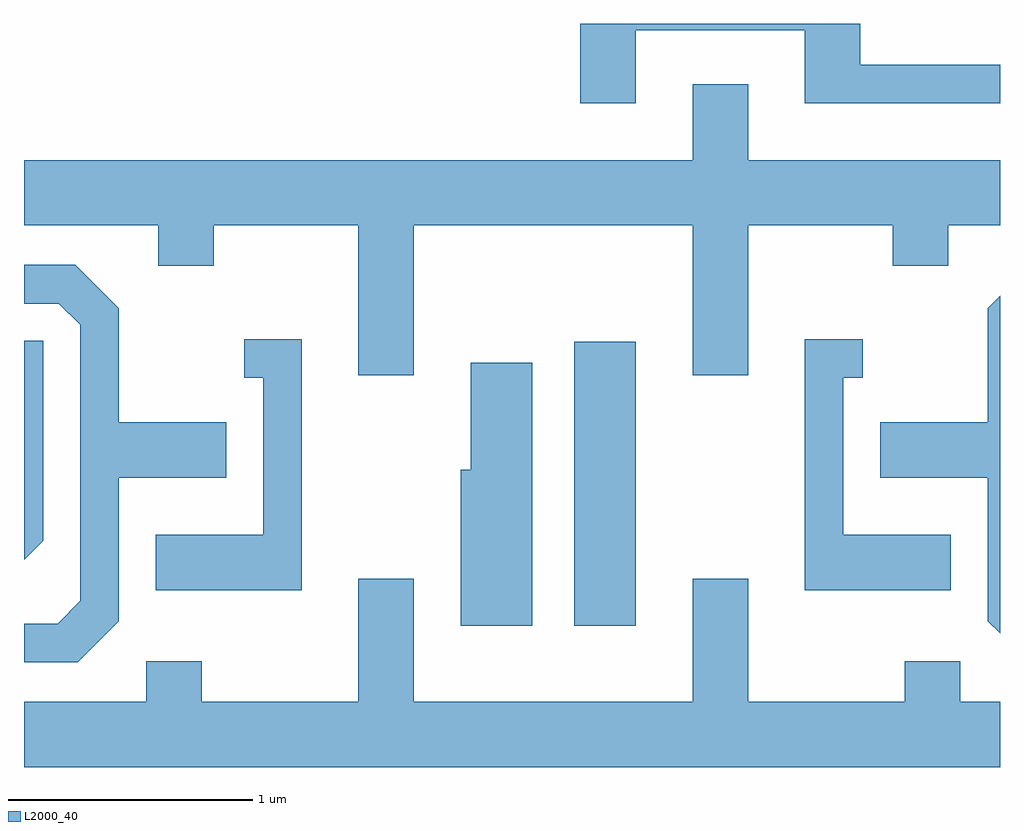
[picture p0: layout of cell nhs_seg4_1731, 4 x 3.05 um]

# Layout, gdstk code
import gdstk
lib = gdstk.Library(unit=1e-6, precision=1e-09)
def R(c, l, rs):  # rectangles x0, y0, x1, y1
    for r in rs: c.add(gdstk.rectangle(r[:2], r[2:], *l))
def P(c, l, *ps):  # polygons
    for p in ps: c.add(gdstk.Polygon(p, *l))
L2000_40 = (2000, 40)

nhs_seg4_1731 = lib.new_cell('nhs_seg4_1731')
R(nhs_seg4_1731, L2000_40, [(237.866,1317.516,238.119,1318.679)])
P(nhs_seg4_1731, L2000_40, [(238.119,1319.956),(238.811,1319.956),(238.811,1319.656),(239.611,1319.656),(239.611,1319.814),(239.039,1319.814),(239.039,1319.982),(237.891,1319.982),(237.891,1319.656),(238.119,1319.656)],
  [(237.209,1319.156),(238.351,1319.156),(238.351,1318.541),(238.579,1318.541),(238.579,1319.156),(239.171,1319.156),(239.171,1318.991),(239.399,1318.991),(239.399,1319.156),(239.611,1319.156),(239.611,1319.424),(238.579,1319.424),(238.579,1319.734),(238.351,1319.734),(238.351,1319.424),(235.611,1319.424),(235.611,1319.156),(236.161,1319.156),(236.161,1318.991),(236.389,1318.991),(236.389,1319.156),(236.981,1319.156),(236.981,1318.541),(237.209,1318.541)],
  [(235.999,1317.534),(235.999,1318.121),(236.439,1318.121),(236.439,1318.349),(235.999,1318.349),(235.999,1318.817),(235.822,1318.994),(235.611,1318.994),(235.611,1318.836),(235.754,1318.836),(235.841,1318.749),(235.841,1317.617),(235.749,1317.524),(235.611,1317.524),(235.611,1317.366),(235.832,1317.366)],
  [(239.611,1318.867),(239.561,1318.817),(239.561,1318.349),(239.121,1318.349),(239.121,1318.121),(239.561,1318.121),(239.561,1317.534),(239.611,1317.484)],
  [(239.409,1317.889),(238.969,1317.889),(238.969,1318.531),(239.048,1318.531),(239.048,1318.689),(238.811,1318.689),(238.811,1317.661),(239.409,1317.661)],
  [(236.749,1318.689),(236.513,1318.689),(236.513,1318.531),(236.591,1318.531),(236.591,1317.889),(236.151,1317.889),(236.151,1317.661),(236.749,1317.661)],
  [(235.689,1317.864),(235.689,1318.684),(235.611,1318.684),(235.611,1317.786)],
  [(237.694,1318.594),(237.441,1318.594),(237.441,1318.154),(237.401,1318.154),(237.401,1317.516),(237.694,1317.516)],
  [(239.611,1317.204),(239.449,1317.204),(239.449,1317.369),(239.221,1317.369),(239.221,1317.204),(238.579,1317.204),(238.579,1317.709),(238.351,1317.709),(238.351,1317.204),(237.209,1317.204),(237.209,1317.709),(236.981,1317.709),(236.981,1317.204),(236.339,1317.204),(236.339,1317.369),(236.111,1317.369),(236.111,1317.204),(235.611,1317.204),(235.611,1316.936),(239.611,1316.936)])

lib.write_gds('nhs_seg4_1731.gds')
